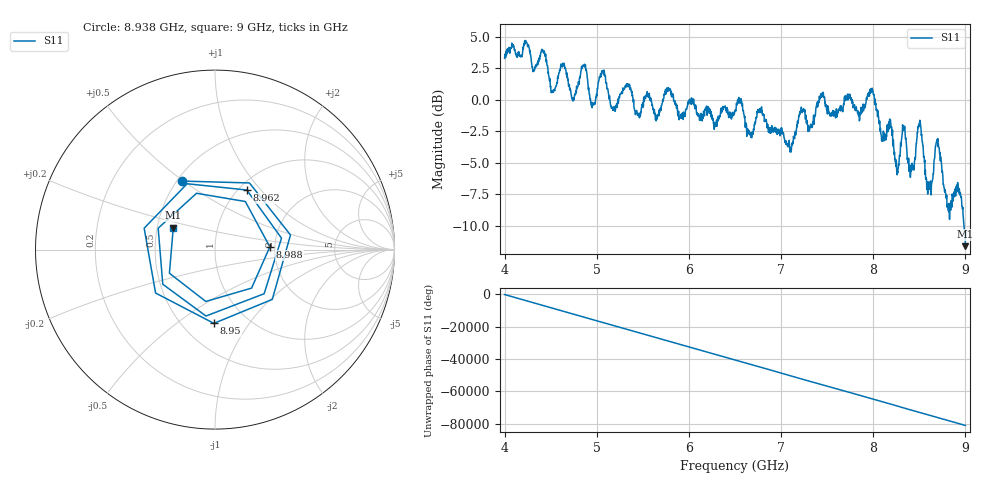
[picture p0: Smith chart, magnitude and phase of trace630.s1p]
! Created with skrf 1.8.0 (http://scikit-rf.org).
# Hz S RI R 50.0
!freq ReS11 ImS11
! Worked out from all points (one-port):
!   1601 points, 4 GHz to 9 GHz, reference 50 ohm
!   lowest |S11| = -11.6 dB at 9 GHz (marker M1), VSWR 1.71, Z = 30.4 + j7.91 ohm
!   |S11| at or under -10 dB: 8.984202 GHz to end of sweep
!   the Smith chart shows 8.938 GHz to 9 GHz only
!   S11 on the Smith chart (normalised r, x): 8.938 GHz: 0.53, +0.49; 8.95 GHz: 0.70, -0.70; 8.962 GHz: 1.09, +0.84; 8.988 GHz: 1.88, +0.06; 9 GHz: 0.61, +0.16
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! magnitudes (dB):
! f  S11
! 4 GHz  3.3
! 4.422 GHz  3.7
! 4.525 GHz  0.6
! 4.625 GHz  2.6
! 4.744 GHz  0.1
! 4.859 GHz  2.7
! 4.956 GHz  -0.4
! 5.062 GHz  2.2
! 5.25 GHz  0.4
! 5.875 GHz  -0.6
! 6.5 GHz  -0.9
! 7.125 GHz  -3.5
! 7.225 GHz  -0.9
! 7.75 GHz  0.3
! 7.988 GHz  0.9
! 8.253 GHz  -5.4
! 8.331 GHz  -2.1
! 8.375 GHz  -4.6
! 8.425 GHz  -5.4
! 8.503 GHz  -1.8
! 8.603 GHz  -6.6
! 8.697 GHz  -3.4
! 8.816 GHz  -8.7
! 8.938 GHz  -7.5
! 8.95 GHz  -7.7
! 8.962 GHz  -8.5
! 8.988 GHz  -10.3
! 9 GHz  -11.6
